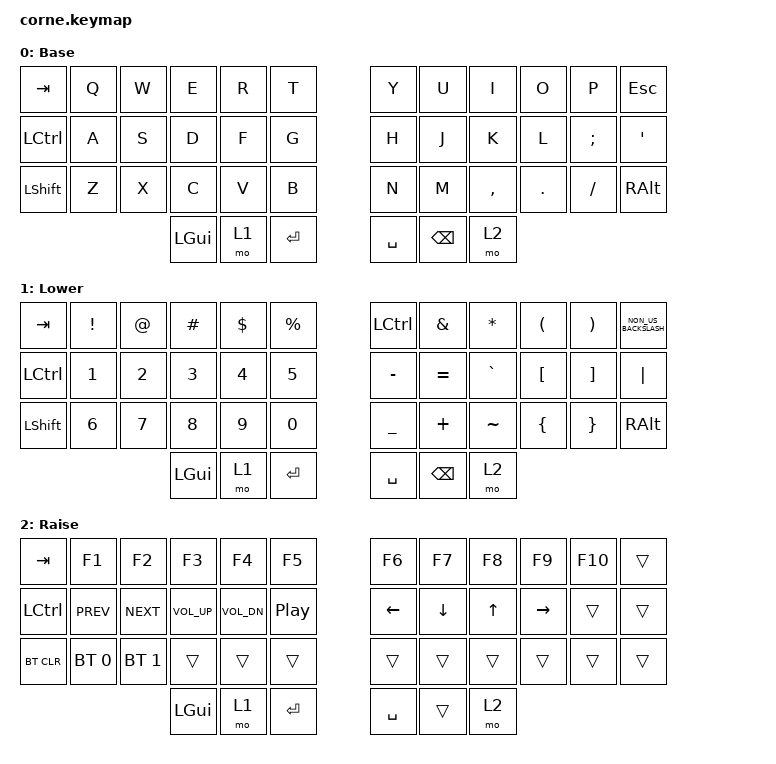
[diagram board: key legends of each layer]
/*
 * Copyright (c) 2020 The ZMK Contributors
 *
 * SPDX-License-Identifier: MIT
 */

#include <behaviors.dtsi>
#include <dt-bindings/zmk/bt.h>
#include <dt-bindings/zmk/keys.h>

/ {
    keymap {
        compatible = "zmk,keymap";

        default_layer {
            // -----------------------------------------------------------------------------------------
            // |  TAB |  Q  |  W  |  E  |  R  |  T  |   |  Y  |  U   |  I  |  O  |  P  | BKSP |
            // | CTRL |  A  |  S  |  D  |  F  |  G  |   |  H  |  J   |  K  |  L  |  ;  |  '   |
            // | SHFT |  Z  |  X  |  C  |  V  |  B  |   |  N  |  M   |  ,  |  .  |  /  | ESC  |
            //                    | GUI | LWR | SPC |   | ENT | RSE  | ALT |

            label = "Base";
            bindings = <
&kp TAB    &kp Q  &kp W  &kp E     &kp R  &kp T         &kp Y      &kp U          &kp I      &kp O    &kp P     &kp ESCAPE
&kp LCTRL  &kp A  &kp S  &kp D     &kp F  &kp G         &kp H      &kp J          &kp K      &kp L    &kp SEMI  &kp SQT
&kp LSHFT  &kp Z  &kp X  &kp C     &kp V  &kp B         &kp N      &kp M          &kp COMMA  &kp DOT  &kp FSLH  &kp RIGHT_ALT
                         &kp LGUI  &mo 1  &kp RETURN    &kp SPACE  &kp BACKSPACE  &mo 2
            >;
        };

        lower_layer {
            // -----------------------------------------------------------------------------------------
            // |  TAB |  1  |  2  |  3  |  4  |  5  |   |  6  |  7  |  8  |  9  |  0  | BKSP |
            // | BTCLR| BT1 | BT2 | BT3 | BT4 | BT5 |   | LFT | DWN |  UP | RGT |     |      |
            // | SHFT |     |     |     |     |     |   |     |     |     |     |     |      |
            //                    | GUI |     | SPC |   | ENT |     | ALT |

            label = "Lower";
            bindings = <
&kp TAB    &kp EXCLAMATION  &kp AT_SIGN   &kp HASH      &kp DOLLAR    &kp PERCENT    &kp LCTRL       &kp AMPERSAND  &kp ASTERISK  &kp LEFT_PARENTHESIS  &kp RIGHT_PARENTHESIS  &kp NON_US_BACKSLASH
&kp LCTRL  &kp NUMBER_1     &kp NUMBER_2  &kp NUMBER_3  &kp NUMBER_4  &kp N5         &kp MINUS       &kp EQUAL      &kp GRAVE     &kp LEFT_BRACKET      &kp RIGHT_BRACKET      &kp PIPE
&kp LSHFT  &kp NUMBER_6     &kp N7        &kp N8        &kp N9        &kp N0         &kp UNDERSCORE  &kp PLUS       &kp TILDE     &kp LEFT_BRACE        &kp RIGHT_BRACE        &kp RIGHT_ALT
                                          &kp LGUI      &mo 1         &kp ENTER      &kp SPACE       &kp BACKSPACE  &mo 2
            >;
        };

        raise_layer {
            // -----------------------------------------------------------------------------------------
            // |  TAB |  !  |  @  |  #  |  $  |  %  |   |  ^  |  &  |  *  |  (  |  )  | BKSP |
            // | CTRL |     |     |     |     |     |   |  -  |  =  |  [  |  ]  |  \  |  `   |
            // | SHFT |     |     |     |     |     |   |  _  |  +  |  {  |  }  | "|" |  ~   |
            //                    | GUI |     | SPC |   | ENT |     | ALT |

            label = "Raise";
            bindings = <
&kp TAB     &kp F1        &kp F2        &kp F3           &kp F4        &kp F5              &kp F6          &kp F7    &kp F8        &kp F9     &kp F10  &trans
&kp LCTRL   &kp K_PREV    &kp C_NEXT    &kp C_VOLUME_UP  &kp C_VOL_DN  &kp C_PLAY_PAUSE    &kp LEFT_ARROW  &kp DOWN  &kp UP_ARROW  &kp RIGHT  &trans   &trans
&bt BT_CLR  &bt BT_SEL 0  &bt BT_SEL 1  &trans           &trans        &trans              &trans          &trans    &trans        &trans     &trans   &trans
                                        &kp LGUI         &mo 1         &kp RETURN          &kp SPACE       &trans    &mo 2
            >;
        };
    };
};
